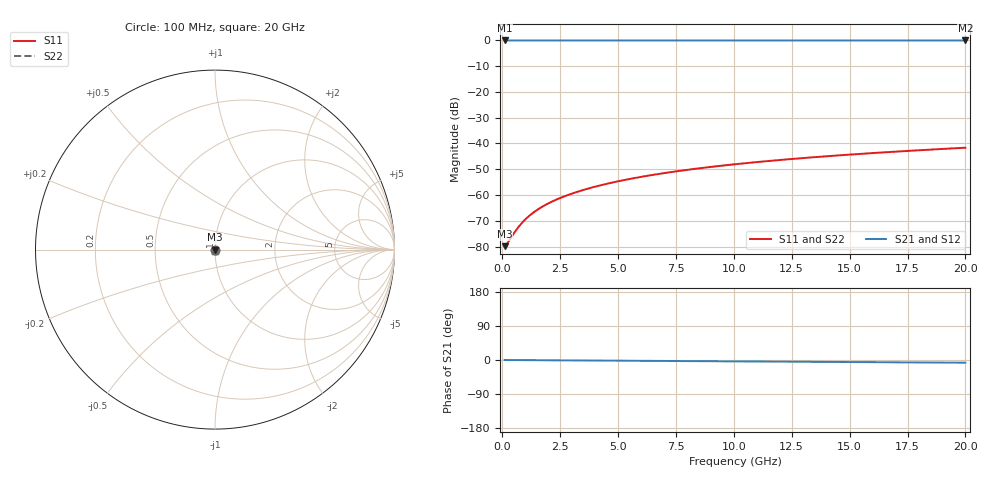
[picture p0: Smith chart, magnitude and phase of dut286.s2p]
! Touchstone file exported from HFSS 2026.1.0
!  File:  C:/ffzhzh/LocalFiles/Ansys_Project_Files/temp_train_TSV_286_1782993677_42984.aedt
!  Generated:  08:02:42 PM Jul  2, 2026
!  Design:  TSV
!  Project:  temp_train_TSV_286_1782993677_42984
! Variables:
!  h_bsmrdl = 2um
!  h_ox = 20um
!  h_rdl = 5um
!  h_sub = 71.34um
!  h_tmrdl = 5um
!  h_tsv = 71.34um
!  h_via = 3um
!  l_bsmrdl = 300um
!  l_sub = 422.24um
!  l_tmrdl = 200um
!  m_sub = 200um
!  pitch = 41.74um
!  r_tsv = 11.12um
!  s_tmrdl = 10um
!  w_bsmrdl = 18um
!  w_sub = 500um
!  w_tmrdl = 12um
!  x_tsv_center1 = 206um
!  x_tsv_center2 = 524um
!  x_tsv_center3 = 736um
!  x_tsv_center4 = 1054um
!  x_tsv_center5 = 1266um
!  x_tsv_center6 = 1584um
# GHz S MA R 50.000000
! Terminal data exported
! Port[1] = TSV1_1_T1
! Port[2] = TSV1_1_T2
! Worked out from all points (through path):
!   200 points, 100 MHz to 20 GHz, reference 50 ohm
!   highest |S21| = 0.00 dB at 100 MHz (marker M1); lowest = 0.0 dB at 20 GHz (marker M2)
!   lowest |S11| = -79.9 dB at 100 MHz (marker M3), VSWR 1.00, Z = 50 - j0.000161 ohm
!   |S11| at or under -10 dB: start of sweep to end of sweep
!   |S22| runs from -79.9 to -41.6 dB; largest |S21 - S12| = 4.8e-15
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0.1  0.0001015 -0.9  0.9999 -0.0  0.9999 -0.0  0.0001015 -0.9
! Gamma 0 0 0 0
! Port Impedance 50 0 50 0
0.2  0.0001131 -3.1  0.9999 -0.1  0.9999 -0.1  0.0001131 -3.1
0.6  0.0002085 -21.5  0.9998 -0.2  0.9998 -0.2  0.0002085 -21.5
0.8  0.0002711 -30.8  0.9998 -0.3  0.9998 -0.3  0.0002711 -30.8
0.9  0.000304 -34.7  0.9997 -0.3  0.9997 -0.3  0.000304 -34.7
1.1  0.0003718 -41.5  0.9997 -0.4  0.9997 -0.4  0.0003718 -41.5
1.4  0.0004764 -49.2  0.9997 -0.5  0.9997 -0.5  0.0004764 -49.2
1.6  0.0005473 -53.1  0.9997 -0.6  0.9997 -0.6  0.0005473 -53.1
1.8  0.000619 -56.3  0.9996 -0.7  0.9996 -0.7  0.000619 -56.3
2.3  0.0008007 -62.0  0.9996 -0.8  0.9996 -0.8  0.0008007 -62.0
2.9  0.001024 -66.5  0.9996 -1.1  0.9996 -1.1  0.001024 -66.5
3.5  0.001252 -69.6  0.9995 -1.3  0.9995 -1.3  0.001252 -69.6
4.2  0.001525 -72.1  0.9995 -1.5  0.9995 -1.5  0.001525 -72.1
5  0.001844 -74.3  0.9994 -1.8  0.9994 -1.8  0.001844 -74.3
5.9  0.00221 -76.3  0.9994 -2.1  0.9994 -2.1  0.00221 -76.3
6.8  0.002582 -77.8  0.9993 -2.5  0.9993 -2.5  0.002582 -77.8
8.3  0.003211 -80.0  0.9993 -3.0  0.9993 -3.0  0.003211 -80.0
10.1  0.003974 -82.1  0.9992 -3.6  0.9992 -3.6  0.003974 -82.1
11.7  0.004658 -83.7  0.9991 -4.2  0.9991 -4.2  0.004658 -83.7
13.4  0.005389 -85.1  0.9991 -4.8  0.9991 -4.8  0.005389 -85.1
16.7  0.006821 -87.4  0.999 -6.0  0.999 -6.0  0.006821 -87.4
20  0.008274 -89.4  0.9988 -7.2  0.9988 -7.2  0.008274 -89.4
